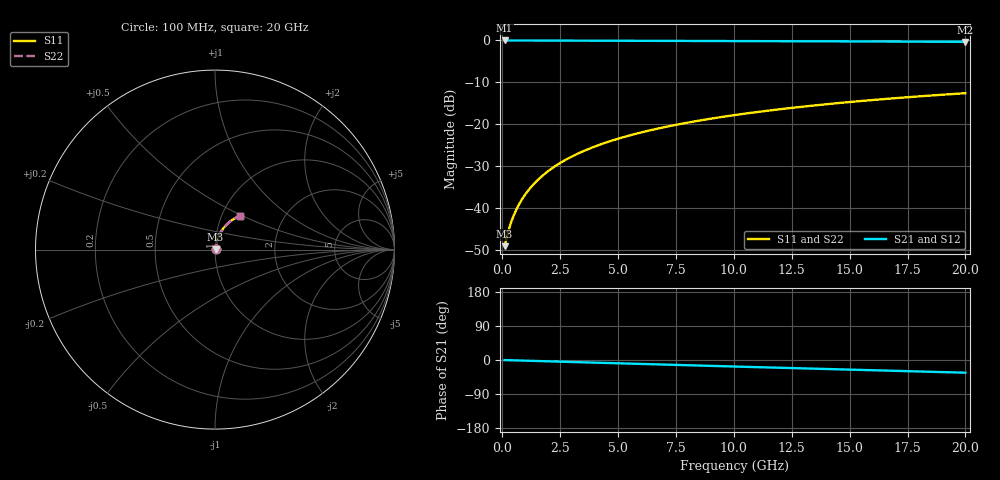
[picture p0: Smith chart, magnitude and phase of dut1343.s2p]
! Touchstone file exported from HFSS 2026.1.0
!  File:  C:/ffzhzh/LocalFiles/Ansys_Project_Files/temp_train_TMRDL_1343_1783165381_43440.aedt
!  Generated:  07:44:10 PM Jul  4, 2026
!  Design:  TMRDL
!  Project:  temp_train_TMRDL_1343_1783165381_43440
! Variables:
!  h_bsmrdl = 2um
!  h_ox = 20um
!  h_rdl = 5um
!  h_sub = 80um
!  h_tmrdl = 3.87um
!  h_tsv = 80um
!  h_via = 3um
!  l_bsmrdl = 300um
!  l_sub = 940.66um
!  l_tmrdl = 540.66um
!  m_sub = 200um
!  pitch = 29.51um
!  r_tsv = 6um
!  s_tmrdl = 10um
!  w_bsmrdl = 18um
!  w_sub = 500um
!  w_tmrdl = 16.93um
!  x_tsv_center1 = 549.125um
!  x_tsv_center2 = 867.125um
!  x_tsv_center3 = 1424.715um
!  x_tsv_center4 = 1742.715um
!  x_tsv_center5 = 2300.305um
!  x_tsv_center6 = 2618.305um
# GHz S MA R 50.000000
! Terminal data exported
! Port[1] = TM_RDL1_1_T1
! Port[2] = TM_RDL1_1_T2
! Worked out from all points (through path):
!   200 points, 100 MHz to 20 GHz, reference 50 ohm
!   highest |S21| = -0.03 dB at 100 MHz (marker M1); lowest = -0.4 dB at 20 GHz (marker M2)
!   group delay of S21, straight-line fit = 4.65 ps
!   lowest |S11| = -49.2 dB at 100 MHz (marker M3), VSWR 1.01, Z = 50.3 + j0.16 ohm
!   |S11| at or under -10 dB: start of sweep to end of sweep
!   |S22| runs from -49.2 to -12.6 dB; largest |S21 - S12| = 4.3e-15
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0.1  0.003467 27.3  0.9969 -0.2  0.9969 -0.2  0.003467 27.3
! Gamma 0 0 0 0
! Port Impedance 50 0 50 0
0.3  0.005684 52.8  0.9966 -0.6  0.9966 -0.6  0.005684 52.8
0.4  0.006914 58.5  0.9964 -0.7  0.9964 -0.7  0.006915 58.5
0.5  0.008152 62.4  0.9963 -0.9  0.9963 -0.9  0.008153 62.4
0.6  0.009398 65.4  0.9962 -1.1  0.9962 -1.1  0.009399 65.4
0.8  0.01192 69.5  0.9961 -1.4  0.9961 -1.4  0.01192 69.5
1  0.01448 72.2  0.9959 -1.8  0.9959 -1.8  0.01448 72.2
1.2  0.01708 74.1  0.9958 -2.1  0.9958 -2.1  0.01708 74.1
1.4  0.01969 75.3  0.9957 -2.5  0.9957 -2.5  0.01969 75.3
1.7  0.02364 76.6  0.9955 -3.0  0.9955 -3.0  0.02364 76.6
2.2  0.03025 77.6  0.9951 -3.9  0.9951 -3.9  0.03025 77.6
2.8  0.03817 77.9  0.9945 -4.9  0.9945 -4.9  0.03817 77.8
3.5  0.04736 77.6  0.9937 -6.2  0.9937 -6.2  0.04736 77.5
4.2  0.05645 76.9  0.9928 -7.4  0.9928 -7.4  0.05645 76.9
5  0.0667 76.0  0.9916 -8.7  0.9916 -8.7  0.0667 75.9
5.9  0.07806 74.7  0.9902 -10.3  0.9902 -10.3  0.07806 74.7
6.8  0.08923 73.4  0.9886 -11.8  0.9886 -11.8  0.08923 73.4
8.3  0.1074 71.2  0.9859 -14.4  0.9859 -14.4  0.1074 71.2
10.1  0.1287 68.5  0.9823 -17.4  0.9823 -17.4  0.1287 68.4
13.4  0.1659 63.4  0.9752 -22.8  0.9752 -22.8  0.1659 63.4
16.7  0.2009 58.4  0.9676 -28.2  0.9676 -28.2  0.2009 58.4
20  0.2335 53.4  0.9594 -33.5  0.9594 -33.5  0.2335 53.3
